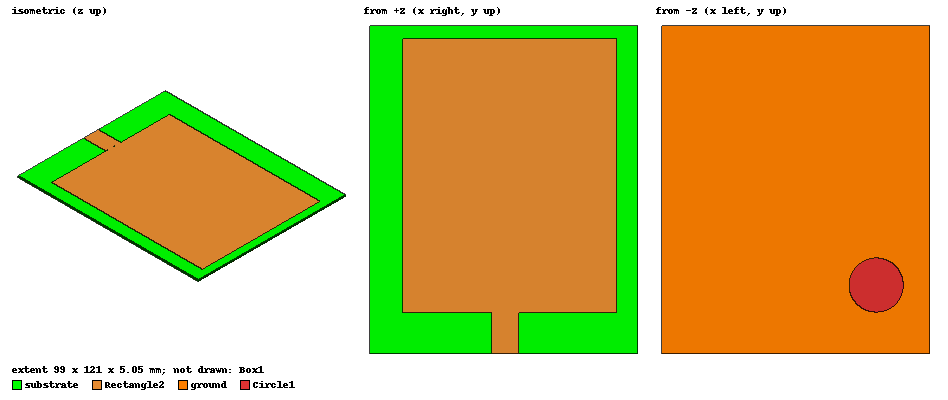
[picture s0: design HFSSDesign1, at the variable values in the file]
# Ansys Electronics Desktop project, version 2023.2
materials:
  vacuum: permittivity=1
  FR4_epoxy: permittivity=4.4 dielectric_loss_tangent=0.02
  copper: permeability=0.999991 conductivity=58000000
  Teflon (tm): permittivity=2.1 dielectric_loss_tangent=0.001
  air: permittivity=1.0006 permeability=1.0000004

design HFSSDesign1 (HFSS, HFSS Terminal Network, model units mm)
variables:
  lp = 79mm
  wp = 101mm
  h = 0.8mm
  gap = 20
  gp = 20
  gap1 = 20mm
  xr = lp/4
  yr = wp/4
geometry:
  substrate [FR4_epoxy] = box(corner=(0mm, 0mm, 0mm), size=(lp+gap1, wp+gap1, -h))
  patch = rectangle(corner=((lp+gap1)/8, (wp+gap1)/8, 0mm), x_size=lp, y_size=wp)
  patch.thicken(0.05mm)
  ground [copper] = rectangle(corner=(0mm, 0mm, -0.8mm), x_size=lp+gap1, y_size=wp+gap1)
  Rectangle1 = rectangle(corner=(45mm, 15mm, 0mm), x_size=10mm, y_size=-15mm)
  Rectangle1.thicken(0.05mm)
  Rectangle1.unite(patch)
  Rectangle2 [copper] = rectangle(corner=(45mm, 0mm, 0mm), z_size=-0.8mm, x_size=10mm)
  Rectangle2.thicken(0.05mm)
  Rectangle2.unite(Rectangle1)
  Circle1 = circle(normal=Z, centre=(xr, yr, -5mm), radius=10mm)
  Circle2 = circle(normal=Z, centre=(xr, yr, -h), radius=0.6mm)
  [Circle2, ground].thicken(0.05mm)
  ground.subtract(Circle2)
  Cylinder1 [copper] = cylinder(axis=Z, base_centre=(xr, yr, 0mm), radius=0.59mm, height=-5mm)
  Box1 [air] = box(corner=(-30mm, 130mm, -20mm), size=(140mm, -200mm, 100mm))
  outer [Teflon (tm)] = cylinder(axis=Z, base_centre=(xr, yr, 0mm), radius=1mm, height=-5mm)
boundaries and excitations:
  Rad1: Radiation Objects=Box1
  1: Lumped Port Objects=Circle1 LumpedPortType=Modal Modes{Mode1{IntLine{(19.75, 25.25, -5) -> (28000mm, 20000mm, -5000mm)} CharImp=Zpi}} Impedance=50ohm
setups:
  Setup1: HfssDrivenAuto AutoSolverSetting=Balanced SaveAnyFields=false Type=Interpolating
    sweep Sweep: 0GHz to 1GHz, 501 points;
  Setup2: HfssDrivenAuto AutoSolverSetting=Balanced SaveAnyFields=false Type=Interpolating
    sweep Sweep: 0GHz to 5GHz, 501 points;
  Setup3: HfssDriven Frequency=5GHz MaxDeltaS=0.02 MaximumPasses=6 MinimumPasses=1 MinimumConvergedPasses=1 PercentRefinement=30 BasisOrder=1 PortAccuracy=2 UseABCOnPort DrivenSolverType="Direct Solver"
  Setup4: HfssDriven Frequency=0.9GHz MaxDeltaS=0.02 MaximumPasses=6 MinimumPasses=1 MinimumConvergedPasses=1 PercentRefinement=30 BasisOrder=1 PortAccuracy=2 DrivenSolverType="Direct Solver"
    sweep Sweep: 0.45GHz to 1.35GHz, 401 points; Type=Fast SaveFields
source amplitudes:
  1:1: 1V 0deg
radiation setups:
  Infinite Sphere1: Infinite Sphere Theta=0deg..360deg step 1deg Phi=-180deg..180deg step 1deg
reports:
  S Parameter Plot 1: dB(S(1,1)) vs Freq on Setup1 : Sweep
  Plot 1: 50 vs Freq, Phase on Setup3 : LastAdaptive
  Gamma Plot 1: im(Gamma(1)) vs Freq on Setup1 : Sweep
  S Parameter Plot 2: dB(S(1,1)) vs Freq on Setup1 : Sweep
  Gain Plot 1: dB(GainTotal) vs Phi, Theta on Setup3 : LastAdaptive, Infinite Sphere1 [Freq=5GHz]
